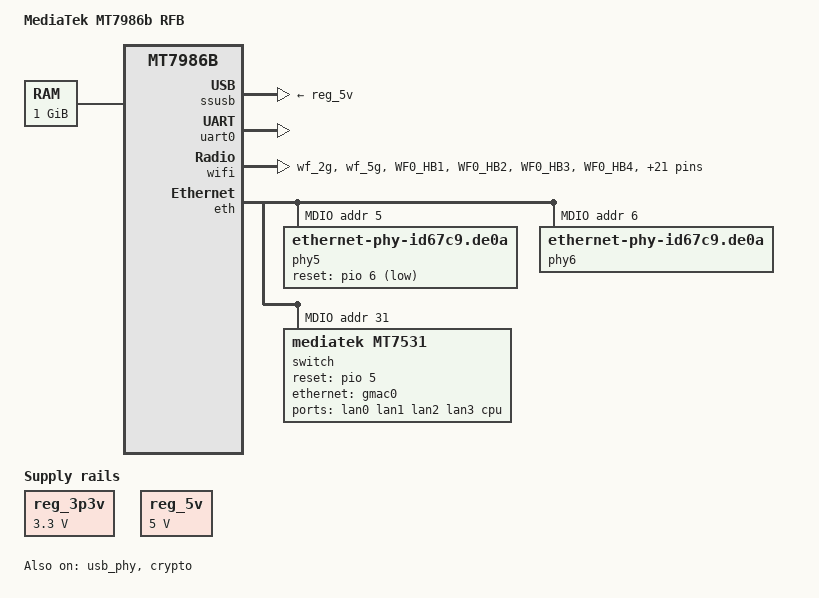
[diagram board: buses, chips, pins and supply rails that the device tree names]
// SPDX-License-Identifier: (GPL-2.0 OR MIT)
/*
 * Copyright (C) 2021 MediaTek Inc.
 * Author: Sam.Shih <sam.shih@mediatek.com>
 */

/dts-v1/;
#include "mt7986b.dtsi"

/ {
	model = "MediaTek MT7986b RFB";
	compatible = "mediatek,mt7986b-rfb";

	aliases {
		serial0 = &uart0;
	};

	chosen {
		stdout-path = "serial0:115200n8";
	};

	memory {
		reg = <0 0x40000000 0 0x40000000>;
	};

	reg_3p3v: regulator-3p3v {
		compatible = "regulator-fixed";
		regulator-name = "fixed-3.3V";
		regulator-min-microvolt = <3300000>;
		regulator-max-microvolt = <3300000>;
		regulator-boot-on;
		regulator-always-on;
	};

	reg_5v: regulator-5v {
		compatible = "regulator-fixed";
		regulator-name = "fixed-5V";
		regulator-min-microvolt = <5000000>;
		regulator-max-microvolt = <5000000>;
		regulator-boot-on;
		regulator-always-on;
	};
};

&ssusb {
	vusb33-supply = <&reg_3p3v>;
	vbus-supply = <&reg_5v>;
	status = "okay";
};

&uart0 {
	status = "okay";
};

&usb_phy {
	status = "okay";
};

&wifi {
	status = "okay";
	pinctrl-names = "default", "dbdc";
	pinctrl-0 = <&wf_2g_5g_pins>;
	pinctrl-1 = <&wf_dbdc_pins>;
};

&eth {
	status = "okay";

	gmac0: mac@0 {
		compatible = "mediatek,eth-mac";
		reg = <0>;
		phy-mode = "2500base-x";

		fixed-link {
			speed = <2500>;
			full-duplex;
			pause;
		};
	};

	gmac1: mac@1 {
		compatible = "mediatek,eth-mac";
		reg = <1>;
		phy-mode = "2500base-x";

		fixed-link {
			speed = <2500>;
			full-duplex;
			pause;
		};
	};

	mdio: mdio-bus {
		#address-cells = <1>;
		#size-cells = <0>;

		phy5: phy@5 {
			compatible = "ethernet-phy-id67c9.de0a";
			reg = <5>;
			reset-gpios = <&pio 6 1>;
			reset-deassert-us = <20000>;
			phy-mode = "2500base-x";
		};

		phy6: phy@6 {
			compatible = "ethernet-phy-id67c9.de0a";
			reg = <6>;
			phy-mode = "2500base-x";
		};

		switch@0 {
			compatible = "mediatek,mt7531";
			reg = <31>;
			reset-gpios = <&pio 5 0>;

			ports {
				#address-cells = <1>;
				#size-cells = <0>;

				port@0 {
					reg = <0>;
					label = "lan0";
				};

				port@1 {
					reg = <1>;
					label = "lan1";
				};

				port@2 {
					reg = <2>;
					label = "lan2";
				};

				port@3 {
					reg = <3>;
					label = "lan3";
				};

				port@6 {
					reg = <6>;
					label = "cpu";
					ethernet = <&gmac0>;
					phy-mode = "2500base-x";

					fixed-link {
						speed = <2500>;
						full-duplex;
						pause;
					};
				};
			};
		};
	};
};

&crypto {
	status = "okay";
};

&pio {
	wf_2g_5g_pins: wf_2g_5g-pins {
		mux {
			function = "wifi";
			groups = "wf_2g", "wf_5g";
		};
		conf {
			pins = "WF0_HB1", "WF0_HB2", "WF0_HB3", "WF0_HB4",
			       "WF0_HB0", "WF0_HB0_B", "WF0_HB5", "WF0_HB6",
			       "WF0_HB7", "WF0_HB8", "WF0_HB9", "WF0_HB10",
			       "WF0_TOP_CLK", "WF0_TOP_DATA", "WF1_HB1",
			       "WF1_HB2", "WF1_HB3", "WF1_HB4", "WF1_HB0",
			       "WF1_HB5", "WF1_HB6", "WF1_HB7", "WF1_HB8",
			       "WF1_TOP_CLK", "WF1_TOP_DATA";
			drive-strength = <4>;
		};
	};

	wf_dbdc_pins: wf_dbdc-pins {
		mux {
			function = "wifi";
			groups = "wf_dbdc";
		};
		conf {
			pins = "WF0_HB1", "WF0_HB2", "WF0_HB3", "WF0_HB4",
			       "WF0_HB0", "WF0_HB0_B", "WF0_HB5", "WF0_HB6",
			       "WF0_HB7", "WF0_HB8", "WF0_HB9", "WF0_HB10",
			       "WF0_TOP_CLK", "WF0_TOP_DATA", "WF1_HB1",
			       "WF1_HB2", "WF1_HB3", "WF1_HB4", "WF1_HB0",
			       "WF1_HB5", "WF1_HB6", "WF1_HB7", "WF1_HB8",
			       "WF1_TOP_CLK", "WF1_TOP_DATA";
			drive-strength = <4>;
		};
	};
};
